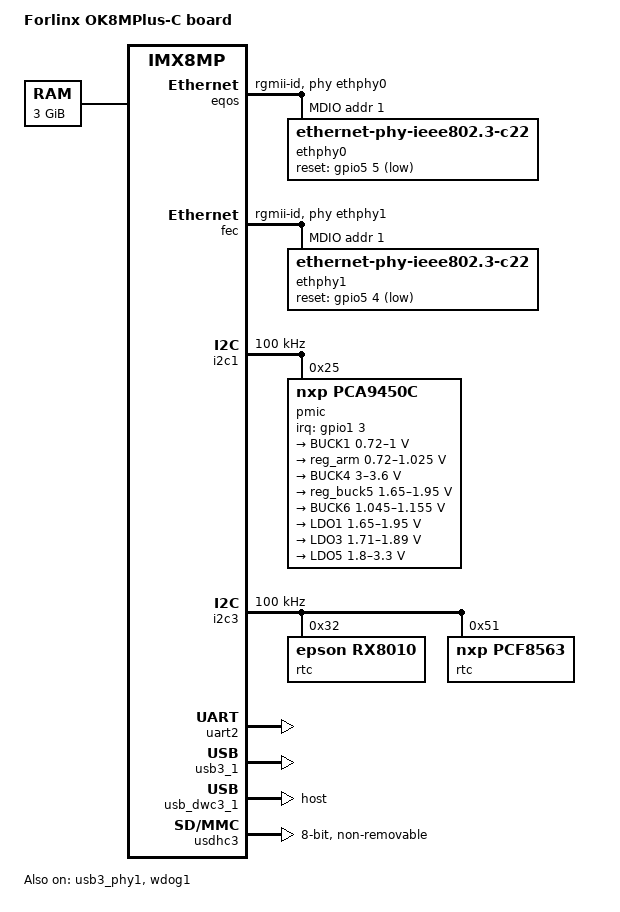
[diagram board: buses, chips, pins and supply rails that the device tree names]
// SPDX-License-Identifier: (GPL-2.0+ OR MIT)
/*
 * Copyright 2019 NXP
 * Board wiring from the Forlinx OK8MP-C BSP and OK8MP-C U-Boot port.
 */

/dts-v1/;

#include "imx8mp.dtsi"

/ {
	model = "Forlinx OK8MPlus-C board";
	compatible = "forlinx,ok8mp-c", "fsl,imx8mp";

	chosen {
		stdout-path = "serial1:115200n8";
	};

	/* U-Boot supplies the memory banks for the installed RAM. */
	memory@40000000 {
		device_type = "memory";
		reg = <0 0x40000000 0 0xc0000000>;
	};

	reserved-memory {
		#address-cells = <2>;
		#size-cells = <2>;
		ranges;

		vdev0vring0: vdev0vring0@55000000 {
			reg = <0 0x55000000 0 0x8000>;
			no-map;
		};

		vdev0vring1: vdev0vring1@55008000 {
			reg = <0 0x55008000 0 0x8000>;
			no-map;
		};

		m7_rsc_table: rsc-table@550ff000 {
			reg = <0 0x550ff000 0 0x1000>;
			no-map;
		};

		vdev0buffer: vdev0buffer@55400000 {
			compatible = "shared-dma-pool";
			reg = <0 0x55400000 0 0x100000>;
			no-map;
		};

		m7_reserved: m7@80000000 {
			reg = <0 0x80000000 0 0x1000000>;
			no-map;
		};
	};

	remoteproc {
		compatible = "fsl,imx8mp-cm7";
		clocks = <&clk IMX8MP_CLK_M7_CORE>;
		mbox-names = "tx", "rx", "rxdb";
		mboxes = <&mu 0 1>, <&mu 1 1>, <&mu 3 1>;
		/* remoteproc_virtio uses the first phandle for the vdev buffer. */
		memory-region = <&vdev0buffer>, <&vdev0vring0>, <&vdev0vring1>,
				<&m7_rsc_table>, <&m7_reserved>;
	};
};

&A53_0 {
	cpu-supply = <&reg_arm>;
};

&A53_1 {
	cpu-supply = <&reg_arm>;
};

&A53_2 {
	cpu-supply = <&reg_arm>;
};

&A53_3 {
	cpu-supply = <&reg_arm>;
};

/* Boot can stall when a CPU enters the PSCI power-down state. */
&cpu_pd_wait {
	status = "disabled";
};

&eqos {
	pinctrl-names = "default";
	pinctrl-0 = <&pinctrl_eqos>;
	phy-mode = "rgmii-id";
	phy-handle = <&ethphy0>;
	status = "okay";

	mdio {
		compatible = "snps,dwmac-mdio";
		#address-cells = <1>;
		#size-cells = <0>;

		ethphy0: ethernet-phy@1 {
			compatible = "ethernet-phy-ieee802.3-c22";
			reg = <1>;
			eee-broken-1000t;
			reset-gpios = <&gpio5 5 GPIO_ACTIVE_LOW>;
			reset-assert-us = <10000>;
			reset-deassert-us = <80000>;
		};
	};
};

&fec {
	pinctrl-names = "default";
	pinctrl-0 = <&pinctrl_fec>;
	phy-mode = "rgmii-id";
	phy-handle = <&ethphy1>;
	fsl,magic-packet;
	status = "okay";

	mdio {
		#address-cells = <1>;
		#size-cells = <0>;

		ethphy1: ethernet-phy@1 {
			compatible = "ethernet-phy-ieee802.3-c22";
			reg = <1>;
			eee-broken-1000t;
			reset-gpios = <&gpio5 4 GPIO_ACTIVE_LOW>;
			reset-assert-us = <10000>;
			reset-deassert-us = <80000>;
		};
	};
};

&i2c1 {
	clock-frequency = <100000>;
	pinctrl-names = "default";
	pinctrl-0 = <&pinctrl_i2c1>;
	status = "okay";

	pmic@25 {
		compatible = "nxp,pca9450c";
		reg = <0x25>;
		pinctrl-names = "default";
		pinctrl-0 = <&pinctrl_pmic>;
		interrupt-parent = <&gpio1>;
		interrupts = <3 IRQ_TYPE_LEVEL_LOW>;

		regulators {
			BUCK1 {
				regulator-name = "BUCK1";
				regulator-min-microvolt = <720000>;
				regulator-max-microvolt = <1000000>;
				regulator-boot-on;
				regulator-always-on;
				regulator-ramp-delay = <3125>;
			};

			reg_arm: BUCK2 {
				regulator-name = "BUCK2";
				regulator-min-microvolt = <720000>;
				regulator-max-microvolt = <1025000>;
				regulator-boot-on;
				regulator-always-on;
				regulator-ramp-delay = <3125>;
				nxp,dvs-run-voltage = <950000>;
				nxp,dvs-standby-voltage = <850000>;
			};

			BUCK4 {
				regulator-name = "BUCK4";
				regulator-min-microvolt = <3000000>;
				regulator-max-microvolt = <3600000>;
				regulator-boot-on;
				regulator-always-on;
			};

			reg_buck5: BUCK5 {
				regulator-name = "BUCK5";
				regulator-min-microvolt = <1650000>;
				regulator-max-microvolt = <1950000>;
				regulator-boot-on;
				regulator-always-on;
			};

			BUCK6 {
				regulator-name = "BUCK6";
				regulator-min-microvolt = <1045000>;
				regulator-max-microvolt = <1155000>;
				regulator-boot-on;
				regulator-always-on;
			};

			LDO1 {
				regulator-name = "LDO1";
				regulator-min-microvolt = <1650000>;
				regulator-max-microvolt = <1950000>;
				regulator-boot-on;
				regulator-always-on;
			};

			LDO3 {
				regulator-name = "LDO3";
				regulator-min-microvolt = <1710000>;
				regulator-max-microvolt = <1890000>;
				regulator-boot-on;
				regulator-always-on;
			};

			LDO5 {
				regulator-name = "LDO5";
				regulator-min-microvolt = <1800000>;
				regulator-max-microvolt = <3300000>;
				regulator-boot-on;
				regulator-always-on;
			};
		};
	};
};

&i2c3 {
	clock-frequency = <100000>;
	pinctrl-names = "default";
	pinctrl-0 = <&pinctrl_i2c3>;
	status = "okay";

	rtc@32 {
		compatible = "epson,rx8010";
		reg = <0x32>;
	};

	rtc@51 {
		compatible = "nxp,pcf8563";
		reg = <0x51>;
		#clock-cells = <0>;
	};
};

&sec_jr0 {
	status = "disabled";
};

&uart2 {
	pinctrl-names = "default";
	pinctrl-0 = <&pinctrl_uart2>;
	status = "okay";
};

&usb3_phy1 {
	fsl,phy-tx-preemp-amp-tune-microamp = <1200>;
	status = "okay";
};

&usb3_1 {
	status = "okay";
};

&usb_dwc3_1 {
	dr_mode = "host";
	status = "okay";
};

&usdhc3 {
	pinctrl-names = "default", "state_100mhz", "state_200mhz";
	pinctrl-0 = <&pinctrl_usdhc3>;
	pinctrl-1 = <&pinctrl_usdhc3_100mhz>;
	pinctrl-2 = <&pinctrl_usdhc3_200mhz>;
	mmc-hs200-1_8v;
	bus-width = <8>;
	non-removable;
	status = "okay";
};

&wdog1 {
	pinctrl-names = "default";
	pinctrl-0 = <&pinctrl_wdog>;
	fsl,ext-reset-output;
	status = "okay";
};

&iomuxc {
	pinctrl_eqos: eqosgrp {
		fsl,pins = <
			MX8MP_IOMUXC_ENET_MDC__ENET_QOS_MDC	0x3
			MX8MP_IOMUXC_ENET_MDIO__ENET_QOS_MDIO	0x3
			MX8MP_IOMUXC_ENET_RD0__ENET_QOS_RGMII_RD0	0x91
			MX8MP_IOMUXC_ENET_RD1__ENET_QOS_RGMII_RD1	0x91
			MX8MP_IOMUXC_ENET_RD2__ENET_QOS_RGMII_RD2	0x91
			MX8MP_IOMUXC_ENET_RD3__ENET_QOS_RGMII_RD3	0x91
			MX8MP_IOMUXC_ENET_RXC__CCM_ENET_QOS_CLOCK_GENERATE_RX_CLK	0x91
			MX8MP_IOMUXC_ENET_RX_CTL__ENET_QOS_RGMII_RX_CTL	0x91
			MX8MP_IOMUXC_ENET_TD0__ENET_QOS_RGMII_TD0		0x1f
			MX8MP_IOMUXC_ENET_TD1__ENET_QOS_RGMII_TD1		0x1f
			MX8MP_IOMUXC_ENET_TD2__ENET_QOS_RGMII_TD2		0x1f
			MX8MP_IOMUXC_ENET_TD3__ENET_QOS_RGMII_TD3		0x1f
			MX8MP_IOMUXC_ENET_TX_CTL__ENET_QOS_RGMII_TX_CTL	0x1f
			MX8MP_IOMUXC_ENET_TXC__CCM_ENET_QOS_CLOCK_GENERATE_TX_CLK	0x1f
			MX8MP_IOMUXC_SPDIF_EXT_CLK__GPIO5_IO05		0x19
		>;
	};

	pinctrl_fec: fecgrp {
		fsl,pins = <
			MX8MP_IOMUXC_SAI1_RXD2__ENET1_MDC		0x3
			MX8MP_IOMUXC_SAI1_RXD3__ENET1_MDIO		0x3
			MX8MP_IOMUXC_SAI1_RXD4__ENET1_RGMII_RD0		0x91
			MX8MP_IOMUXC_SAI1_RXD5__ENET1_RGMII_RD1		0x91
			MX8MP_IOMUXC_SAI1_RXD6__ENET1_RGMII_RD2		0x91
			MX8MP_IOMUXC_SAI1_RXD7__ENET1_RGMII_RD3		0x91
			MX8MP_IOMUXC_SAI1_TXC__ENET1_RGMII_RXC		0x91
			MX8MP_IOMUXC_SAI1_TXFS__ENET1_RGMII_RX_CTL	0x91
			MX8MP_IOMUXC_SAI1_TXD0__ENET1_RGMII_TD0		0x1f
			MX8MP_IOMUXC_SAI1_TXD1__ENET1_RGMII_TD1		0x1f
			MX8MP_IOMUXC_SAI1_TXD2__ENET1_RGMII_TD2		0x1f
			MX8MP_IOMUXC_SAI1_TXD3__ENET1_RGMII_TD3		0x1f
			MX8MP_IOMUXC_SAI1_TXD4__ENET1_RGMII_TX_CTL	0x1f
			MX8MP_IOMUXC_SAI1_TXD5__ENET1_RGMII_TXC		0x1f
			MX8MP_IOMUXC_SPDIF_RX__GPIO5_IO04		0x19
		>;
	};

	pinctrl_i2c1: i2c1grp {
		fsl,pins = <
			MX8MP_IOMUXC_I2C1_SCL__I2C1_SCL		0x400001c3
			MX8MP_IOMUXC_I2C1_SDA__I2C1_SDA		0x400001c3
		>;
	};

	pinctrl_i2c3: i2c3grp {
		fsl,pins = <
			MX8MP_IOMUXC_I2C3_SCL__I2C3_SCL			0x400001c3
			MX8MP_IOMUXC_I2C3_SDA__I2C3_SDA			0x400001c3
		>;
	};

	pinctrl_pmic: pmicirqgrp {
		fsl,pins = <
			/* Pull up the PCA9450C open-drain IRQB input. */
			MX8MP_IOMUXC_GPIO1_IO03__GPIO1_IO03	0x1c0
		>;
	};

	pinctrl_uart2: uart2grp {
		fsl,pins = <
			MX8MP_IOMUXC_UART2_RXD__UART2_DCE_RX	0x49
			MX8MP_IOMUXC_UART2_TXD__UART2_DCE_TX	0x49
		>;
	};

	pinctrl_usdhc3: usdhc3grp {
		fsl,pins = <
			MX8MP_IOMUXC_NAND_WE_B__USDHC3_CLK	0x190
			MX8MP_IOMUXC_NAND_WP_B__USDHC3_CMD	0x1d0
			MX8MP_IOMUXC_NAND_DATA04__USDHC3_DATA0	0x1d0
			MX8MP_IOMUXC_NAND_DATA05__USDHC3_DATA1	0x1d0
			MX8MP_IOMUXC_NAND_DATA06__USDHC3_DATA2	0x1d0
			MX8MP_IOMUXC_NAND_DATA07__USDHC3_DATA3	0x1d0
			MX8MP_IOMUXC_NAND_RE_B__USDHC3_DATA4	0x1d0
			MX8MP_IOMUXC_NAND_CE2_B__USDHC3_DATA5	0x1d0
			MX8MP_IOMUXC_NAND_CE3_B__USDHC3_DATA6	0x1d0
			MX8MP_IOMUXC_NAND_CLE__USDHC3_DATA7	0x1d0
			MX8MP_IOMUXC_NAND_CE1_B__USDHC3_STROBE	0x190
		>;
	};

	pinctrl_usdhc3_100mhz: usdhc3-100mhzgrp {
		fsl,pins = <
			MX8MP_IOMUXC_NAND_WE_B__USDHC3_CLK	0x194
			MX8MP_IOMUXC_NAND_WP_B__USDHC3_CMD	0x1d4
			MX8MP_IOMUXC_NAND_DATA04__USDHC3_DATA0	0x1d4
			MX8MP_IOMUXC_NAND_DATA05__USDHC3_DATA1	0x1d4
			MX8MP_IOMUXC_NAND_DATA06__USDHC3_DATA2	0x1d4
			MX8MP_IOMUXC_NAND_DATA07__USDHC3_DATA3	0x1d4
			MX8MP_IOMUXC_NAND_RE_B__USDHC3_DATA4	0x1d4
			MX8MP_IOMUXC_NAND_CE2_B__USDHC3_DATA5	0x1d4
			MX8MP_IOMUXC_NAND_CE3_B__USDHC3_DATA6	0x1d4
			MX8MP_IOMUXC_NAND_CLE__USDHC3_DATA7	0x1d4
			MX8MP_IOMUXC_NAND_CE1_B__USDHC3_STROBE	0x194
		>;
	};

	pinctrl_usdhc3_200mhz: usdhc3-200mhzgrp {
		fsl,pins = <
			MX8MP_IOMUXC_NAND_WE_B__USDHC3_CLK	0x196
			MX8MP_IOMUXC_NAND_WP_B__USDHC3_CMD	0x1d6
			MX8MP_IOMUXC_NAND_DATA04__USDHC3_DATA0	0x1d6
			MX8MP_IOMUXC_NAND_DATA05__USDHC3_DATA1	0x1d6
			MX8MP_IOMUXC_NAND_DATA06__USDHC3_DATA2	0x1d6
			MX8MP_IOMUXC_NAND_DATA07__USDHC3_DATA3	0x1d6
			MX8MP_IOMUXC_NAND_RE_B__USDHC3_DATA4	0x1d6
			MX8MP_IOMUXC_NAND_CE2_B__USDHC3_DATA5	0x1d6
			MX8MP_IOMUXC_NAND_CE3_B__USDHC3_DATA6	0x1d6
			MX8MP_IOMUXC_NAND_CLE__USDHC3_DATA7	0x1d6
			MX8MP_IOMUXC_NAND_CE1_B__USDHC3_STROBE	0x196
		>;
	};

	pinctrl_wdog: wdoggrp {
		fsl,pins = <
			MX8MP_IOMUXC_GPIO1_IO02__WDOG1_WDOG_B	0xc6
		>;
	};
};
